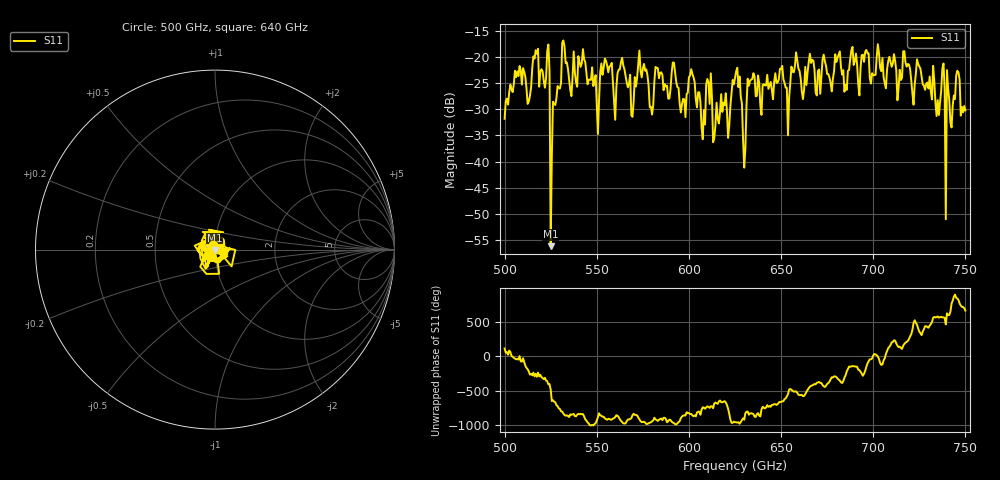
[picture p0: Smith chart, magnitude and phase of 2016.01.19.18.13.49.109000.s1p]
!Created with skrf (http://scikit-rf.org).
# GHz S RI R 50.0
!freq ReS11 ImS11
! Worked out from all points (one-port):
!   401 points, 500 GHz to 750 GHz, reference 50 ohm
!   lowest |S11| = -56.2 dB at 525 GHz (marker M1), VSWR 1.00, Z = 49.9 - j0.133 ohm
!   |S11| at or under -10 dB: start of sweep to end of sweep
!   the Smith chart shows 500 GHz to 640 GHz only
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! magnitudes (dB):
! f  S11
! 500 GHz  -31.8
! 506.9 GHz  -22.8
! 513.1 GHz  -28.5
! 516.9 GHz  -18.7
! 523.1 GHz  -18.9
! 525 GHz  -56.2
! 526.2 GHz  -28.6
! 531.2 GHz  -17.3
! 550 GHz  -28.9
! 562.5 GHz  -22.4
! 570 GHz  -28.6
! 573.8 GHz  -22.6
! 579.4 GHz  -29.5
! 583.1 GHz  -22.2
! 593.8 GHz  -25.8
! 601.9 GHz  -23.3
! 607.5 GHz  -35.7
! 610.6 GHz  -24.9
! 614.4 GHz  -33.1
! 625 GHz  -24.0
! 630 GHz  -41.2
! 634.4 GHz  -24.2
! 653.8 GHz  -35.0
! 656.2 GHz  -22.8
! 687.5 GHz  -20.4
! 718.8 GHz  -21.4
! 745.6 GHz  -22.6
! 750 GHz  -30.2
